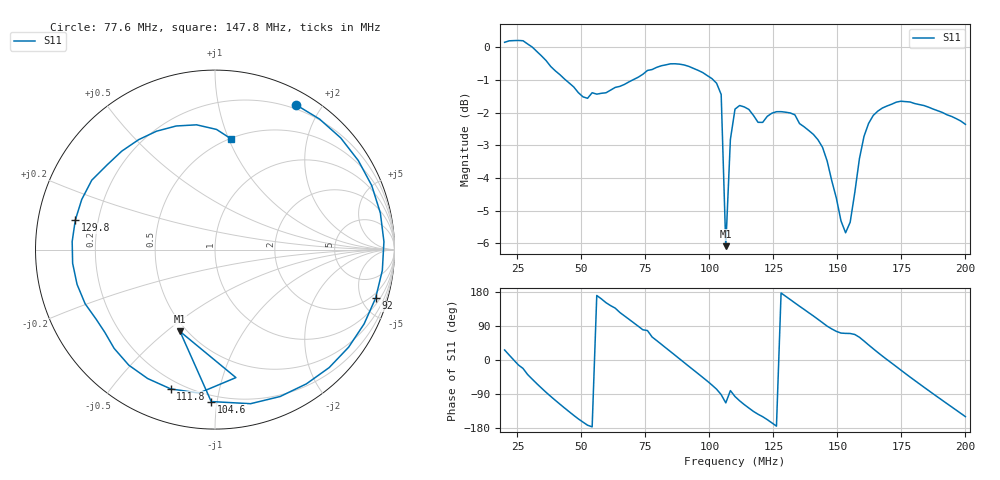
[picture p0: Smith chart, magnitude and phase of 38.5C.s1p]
# HZ S RI R 50
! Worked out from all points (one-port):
!   101 points, 20 MHz to 200 MHz, reference 50 ohm
!   lowest |S11| = -6.1 dB at 106.4 MHz (marker M1), VSWR 2.97, Z = 23 - j27.9 ohm
!   |S11| at or under -10 dB: nowhere
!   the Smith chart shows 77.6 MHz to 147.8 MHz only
!   S11 on the Smith chart (normalised r, x): 77.6 MHz: 0.15, +1.69; 92 MHz: 1.49, -6.42; 104.6 MHz: 0.16, -0.96; 111.8 MHz: 0.16, -0.72; 129.8 MHz: 0.12, +0.10; 147.8 MHz: 0.50, +1.02
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2e7  0.9111 0.4537
2.72e7  0.9466 -0.3888
3.26e7  0.4538 -0.8745
3.8e7  -0.0974 -0.9296
4.34e7  -0.5325 -0.7184
5.42e7  -0.8504 -0.0526
6.5e7  -0.5063 0.7091
7.22e7  0.0143 0.8998
7.76e7  0.4504 0.8074
8.84e7  0.9412 0.0443
9.2e7  0.8947 -0.2708
9.92e7  0.5092 -0.748
1.046e8  -0.0211 -0.8466
1.064e8  -0.195 -0.4561
1.082e8  0.1165 -0.7131
1.1e8  -0.089 -0.7992
1.118e8  -0.2468 -0.7762
1.226e8  -0.7234 -0.3021
1.298e8  -0.7784 0.164
1.334e8  -0.6867 0.3867
1.424e8  -0.2163 0.6887
1.478e8  0.087 0.6187
1.55e8  0.1849 0.5073
1.604e8  0.469 0.5604
1.676e8  0.7945 0.1435
1.784e8  0.5829 -0.5833
1.892e8  -0.1095 -0.792
2e8  -0.6562 -0.3878
